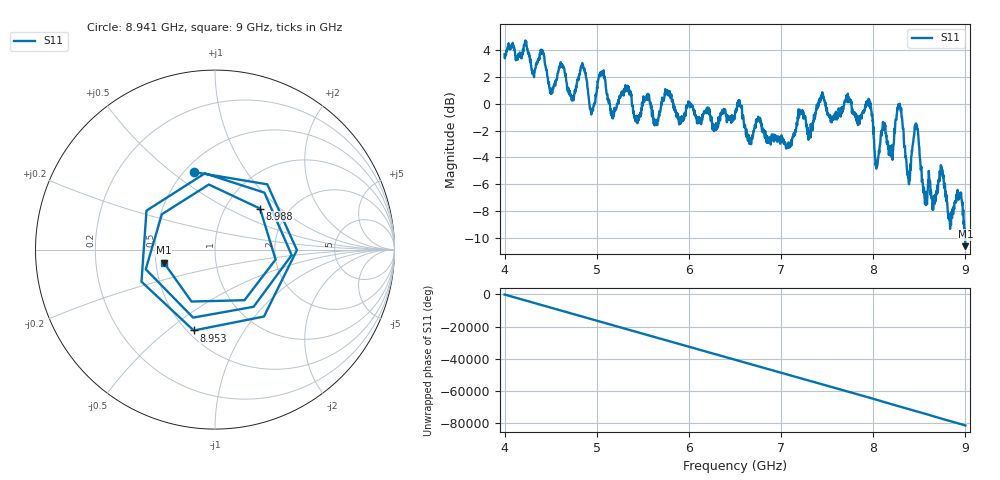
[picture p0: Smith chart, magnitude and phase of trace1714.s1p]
! Created with skrf 1.8.0 (http://scikit-rf.org).
# Hz S RI R 50.0
!freq ReS11 ImS11
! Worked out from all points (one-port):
!   1601 points, 4 GHz to 9 GHz, reference 50 ohm
!   lowest |S11| = -10.6 dB at 9 GHz (marker M1), VSWR 1.83, Z = 27.6 - j4.39 ohm
!   |S11| at or under -10 dB: 8.997168 GHz to end of sweep
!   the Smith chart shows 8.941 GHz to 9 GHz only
!   S11 on the Smith chart (normalised r, x): 8.941 GHz: 0.56, +0.60; 8.953 GHz: 0.54, -0.62; 8.988 GHz: 1.44, +0.74; 9 GHz: 0.55, -0.09
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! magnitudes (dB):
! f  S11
! 4 GHz  3.7
! 4.406 GHz  3.7
! 4.509 GHz  0.9
! 4.625 GHz  3.0
! 4.734 GHz  0.4
! 4.853 GHz  2.8
! 4.941 GHz  -0.8
! 5.05 GHz  2.2
! 5.162 GHz  -0.5
! 5.25 GHz  0.5
! 5.875 GHz  -0.7
! 6.5 GHz  -0.7
! 7.125 GHz  -2.5
! 7.434 GHz  0.6
! 7.75 GHz  0.1
! 7.956 GHz  0.2
! 8.041 GHz  -4.7
! 8.106 GHz  -1.3
! 8.197 GHz  -3.9
! 8.288 GHz  0.0
! 8.375 GHz  -5.2
! 8.466 GHz  -1.5
! 8.562 GHz  -7.5
! 8.738 GHz  -5.0
! 8.941 GHz  -7.0
! 8.953 GHz  -6.6
! 8.988 GHz  -9.4
! 9 GHz  -10.6
